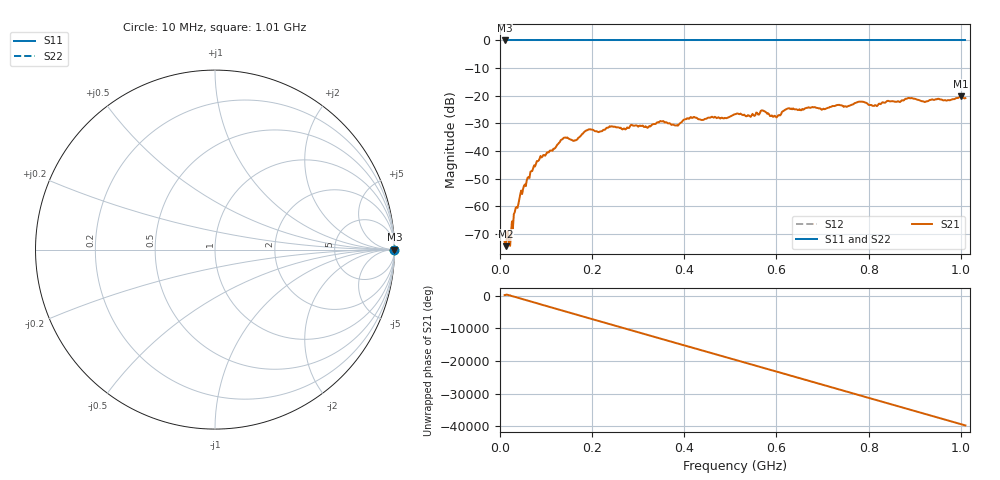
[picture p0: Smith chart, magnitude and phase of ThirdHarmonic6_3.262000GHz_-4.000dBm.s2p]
! 8/17/2025 10:04:03 AM
! C:\ANRITSUVNA\TEMP\TEMP.S2P
! CHANNEL.1
! TR.MEASUREMENT
! RAW.DATA
! RF.CORRECTION.OFF
! AVERAGING.OFF
! IF.BANDWIDTH: 5KHZ
! SWEEPTYPE:  FREQ.SWEEP(Linear)
! Reference Plane Port Info
! PORT:  PORT1  PORT2
! DISTANCE:  0  m  0  m
! TIME:  0  s  0  s
! PHASE.OFFSET:  0  deg.  0  deg.
! LOSS:  0  dB  0  dB
! REF.LOSS:  0  dB  0  dB
! REF.FREQ:  0  Hz  0  Hz
! Power Info
! POWER:  -20  dBm  -20  dBm
! EFF.POWER:  -20  dBm  -20  dBm
! SOURCE.ATTEN:  0  dB  0  dB
! TEST.ATTEN:  0  dB  0  dB
# GHZ S RI R 50.0
! FREQ.GHZ  S11RE  S11IM  S21RE  S21IM  S12RE  S12IM  S22RE  S22IM
!; PortSelection: Port_12
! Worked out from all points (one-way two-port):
!   501 points, 10 MHz to 1.01 GHz, reference 50 ohm
!   highest |S21| = -20.14 dB at 1 GHz (marker M1); lowest = -74.4 dB at 12 MHz (marker M2)
!   lowest |S11| = 0.0 dB at 10 MHz (marker M3)
!   |S11| at or under -10 dB: nowhere
!   |S22| runs from 0.0 to 0.0 dB; largest |S21 - S12| = 1.1
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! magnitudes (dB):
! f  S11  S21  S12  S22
! 10 MHz  0.0  -72.9  0.0  0.0
! 12 MHz  0.0  -74.4  0.0  0.0
! 24 MHz  0.0  -69.1  0.0  0.0
! 30 MHz  0.0  -62.8  0.0  0.0
! 48 MHz  0.0  -55.5  0.0  0.0
! 84 MHz  0.0  -43.4  0.0  0.0
! 136 MHz  0.0  -35.7  0.0  0.0
! 162 MHz  0.0  -36.1  0.0  0.0
! 178 MHz  0.0  -33.9  0.0  0.0
! 194 MHz  0.0  -32.1  0.0  0.0
! 322 MHz  0.0  -31.3  0.0  0.0
! 344 MHz  0.0  -29.7  0.0  0.0
! 382 MHz  0.0  -30.7  0.0  0.0
! 416 MHz  0.0  -28.0  0.0  0.0
! 510 MHz  0.0  -26.7  0.0  0.0
! 570 MHz  0.0  -25.3  0.0  0.0
! 598 MHz  0.0  -27.4  0.0  0.0
! 624 MHz  0.0  -24.6  0.0  0.0
! 678 MHz  0.0  -24.1  0.0  0.0
! 844 MHz  0.0  -21.9  0.0  0.0
! 1 GHz  0.0  -20.1  0.0  0.0
! 1.01 GHz  0.0  -20.9  0.0  0.0
